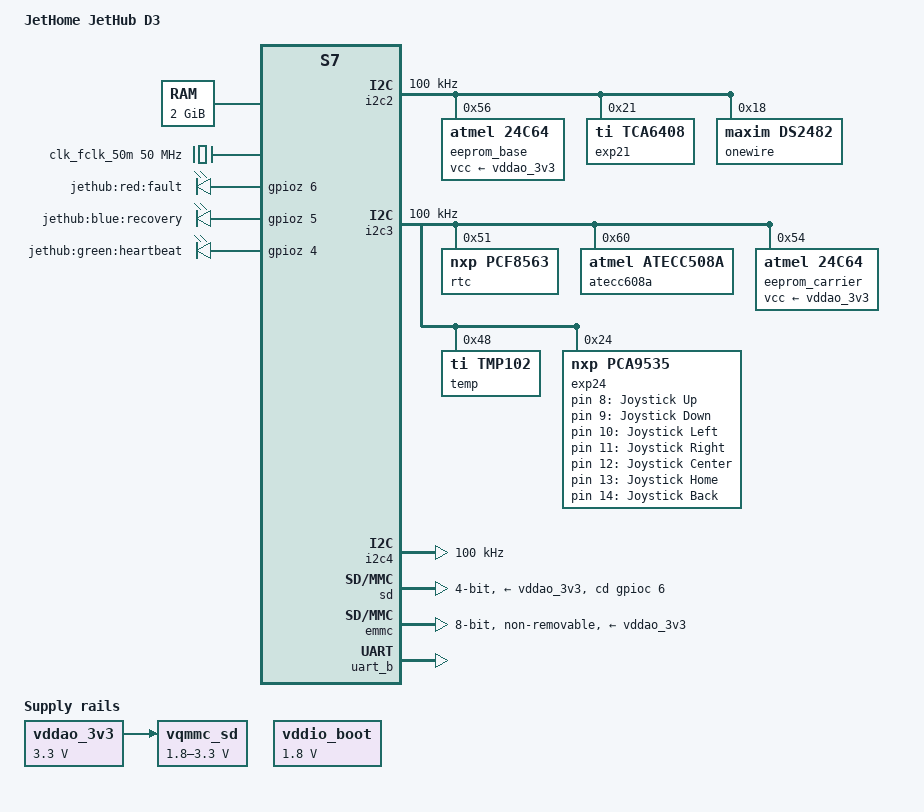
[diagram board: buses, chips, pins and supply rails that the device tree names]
// SPDX-License-Identifier: (GPL-2.0+ OR MIT)
/*
 * Copyright (c) 2026 JetHome
 *
 * JetHub D3 (J310): Amlogic S905Y5 (S7), 2-4 GiB RAM, eMMC, SD, 100 Mbit
 * Ethernet, USB 2.0, four UXM module slots.
 *
 * Bring-up stage. Mainline has no S7 clock controller yet, so the
 * peripherals run on fixed-clock placeholders: U-Boot leaves the gates
 * open and the PLLs running. The clock measurer confirmed the rates on
 * the board (2026-10-14): sys_clk 166.66 MHz, fclk_div5 400 MHz (so
 * fclk_div2 1 GHz), fclk_50m 50 MHz, gp0_pll 1151.7 MHz, sd_emmc_c
 * sourced from gp0_pll. The Ethernet clocks measure 0 Hz: U-Boot leaves
 * them gated, so the MAC and the MDIO mux stay disabled.
 */

/dts-v1/;

#include "amlogic-s7.dtsi"
#include "amlogic-s7-reset.h"
#include <dt-bindings/gpio/gpio.h>
#include <dt-bindings/input/input.h>
#include <dt-bindings/pinctrl/amlogic,pinctrl.h>

/ {
	model = "JetHome JetHub D3";
	compatible = "jethome,jethub-j310", "amlogic,s7";
	interrupt-parent = <&gic>;
	#address-cells = <2>;
	#size-cells = <2>;

	aliases {
		serial0 = &uart_b;
		mmc0 = &emmc;
		mmc1 = &sd;
		i2c2 = &i2c2;
		i2c3 = &i2c3;
		i2c4 = &i2c4;
		/* U-Boot fills local-mac-address from the eFuse MAC */
		ethernet0 = &ethmac;
	};

	chosen {
		stdout-path = "serial0:921600n8";
	};

	/* U-Boot fixes up the real size (2 or 4 GiB) */
	memory@0 {
		device_type = "memory";
		reg = <0x0 0x0 0x0 0x80000000>;
	};

	reserved-memory {
		#address-cells = <2>;
		#size-cells = <2>;
		ranges;

		/*
		 * 35 MiB reserved for ARM Trusted Firmware. The vendor U-Boot
		 * runs "rsvmem check" before booti: it needs this exact node
		 * name and rewrites reg to the BL31/BL32 region it booted with.
		 */
		secmon_reserved: linux,secmon {
			compatible = "shared-dma-pool";
			reg = <0x0 0x05000000 0x0 0x2300000>;
			alignment = <0x0 0x100000>;
			no-map;
		};
	};

	/* Clock placeholders, see the header comment; rates measured */
	clk_sys_pclk: clock-sys-pclk {
		compatible = "fixed-clock";
		#clock-cells = <0>;
		clock-frequency = <166666667>;
		clock-output-names = "sys_pclk";
	};

	clk_fclk_div2: clock-fclk-div2 {
		compatible = "fixed-clock";
		#clock-cells = <0>;
		clock-frequency = <1000000000>;
		clock-output-names = "fclk_div2";
	};

	clk_fclk_50m: clock-fclk-50m {
		compatible = "fixed-clock";
		#clock-cells = <0>;
		clock-frequency = <50000000>;
		clock-output-names = "fclk_50m";
	};

	/* MMC clock input (vendor src_clk_rate), measured 1151.7 MHz */
	clk_gp0_pll: clock-gp0-pll {
		compatible = "fixed-clock";
		#clock-cells = <0>;
		clock-frequency = <1152000000>;
		clock-output-names = "gp0_pll";
	};

	/*
	 * BL31 exposes SCMI over SMC 0x820000c1 with the shared memory in
	 * the secmon reserve, as the vendor DT describes. The clock protocol
	 * on this board (checked 2026-10-14) exports 17 clocks: cpu_clk
	 * (1704 MHz), dsu_clk (1344 MHz), aclkm (672 MHz), gp1_pll (off),
	 * pwm_g/h/i/j (24 MHz) and the 24 MHz inputs of the DDR, USB, ETH,
	 * ADC, HDMI and TOP PLLs. The fixed PLL, its dividers, GP0, HiFi and
	 * all CLKCTRL muxes stay with the kernel: an S7 clock controller.
	 */
	sram@50f6000 {
		compatible = "mmio-sram";
		reg = <0x0 0x050f6000 0x0 0x100>;
		#address-cells = <1>;
		#size-cells = <1>;
		ranges = <0 0x0 0x050f6000 0x100>;

		scmi_shmem: scmi-sram@0 {
			compatible = "arm,scmi-shmem";
			reg = <0x0 0x100>;
		};
	};

	firmware {
		scmi {
			compatible = "arm,scmi-smc";
			arm,smc-id = <0x820000c1>;
			shmem = <&scmi_shmem>;
			#address-cells = <1>;
			#size-cells = <0>;

			scmi_clk: protocol@14 {
				reg = <0x14>;
				#clock-cells = <1>;
			};
		};
	};

	vddao_3v3: regulator-vddao-3v3 {
		compatible = "regulator-fixed";
		regulator-name = "VDDAO_3V3";
		regulator-min-microvolt = <3300000>;
		regulator-max-microvolt = <3300000>;
		regulator-boot-on;
		regulator-always-on;
	};

	vddio_boot: regulator-vddio-boot {
		compatible = "regulator-fixed";
		regulator-name = "VDDIO_BOOT";
		regulator-min-microvolt = <1800000>;
		regulator-max-microvolt = <1800000>;
		regulator-boot-on;
		regulator-always-on;
	};

	/* GPIOH_6 drives PR1: high selects 3.3 V, low selects 1.8 V */
	vqmmc_sd: regulator-vqmmc-sd {
		compatible = "regulator-gpio";
		regulator-name = "VQMMC_SD";
		vin-supply = <&vddao_3v3>;
		regulator-min-microvolt = <1800000>;
		regulator-max-microvolt = <3300000>;
		gpios = <&gpioh 6 GPIO_ACTIVE_HIGH>;
		gpios-states = <1>;
		states = <3300000 1>, <1800000 0>;
		regulator-settling-time-us = <10000>;
		regulator-boot-on;
	};

	gpio-keys {
		compatible = "gpio-keys-polled";
		poll-interval = <100>;

		button-up {
			label = "Joystick Up";
			gpios = <&exp24 8 GPIO_ACTIVE_HIGH>;
			linux,code = <KEY_UP>;
			debounce-interval = <10>;
		};

		button-down {
			label = "Joystick Down";
			gpios = <&exp24 9 GPIO_ACTIVE_HIGH>;
			linux,code = <KEY_DOWN>;
			debounce-interval = <10>;
		};

		button-left {
			label = "Joystick Left";
			gpios = <&exp24 10 GPIO_ACTIVE_HIGH>;
			linux,code = <KEY_LEFT>;
			debounce-interval = <10>;
		};

		button-right {
			label = "Joystick Right";
			gpios = <&exp24 11 GPIO_ACTIVE_HIGH>;
			linux,code = <KEY_RIGHT>;
			debounce-interval = <10>;
		};

		button-center {
			label = "Joystick Center";
			gpios = <&exp24 12 GPIO_ACTIVE_HIGH>;
			linux,code = <KEY_ENTER>;
			debounce-interval = <10>;
		};

		button-home {
			label = "Joystick Home";
			gpios = <&exp24 13 GPIO_ACTIVE_HIGH>;
			linux,code = <KEY_HOME>;
			debounce-interval = <10>;
		};

		button-back {
			label = "Joystick Back";
			gpios = <&exp24 14 GPIO_ACTIVE_HIGH>;
			linux,code = <KEY_BACK>;
			debounce-interval = <10>;
		};
	};

	leds {
		compatible = "gpio-leds";

		led-red {
			label = "jethub:red:fault";
			gpios = <&gpioz 6 GPIO_ACTIVE_HIGH>;
			default-state = "off";
		};

		led-blue {
			label = "jethub:blue:recovery";
			gpios = <&gpioz 5 GPIO_ACTIVE_HIGH>;
			default-state = "off";
		};

		led-green {
			label = "jethub:green:heartbeat";
			gpios = <&gpioz 4 GPIO_ACTIVE_HIGH>;
			linux,default-trigger = "heartbeat";
		};
	};
};

/* Pin groups: pins and functions from the vendor pinctrl-meson-s7 tables */
&periphs_pinctrl {
	func-emmc {
		emmc_pins: group-emmc-pins {
			pinmux = <AML_PINMUX(AMLOGIC_GPIO_B, 0, 1)>,
				 <AML_PINMUX(AMLOGIC_GPIO_B, 1, 1)>,
				 <AML_PINMUX(AMLOGIC_GPIO_B, 2, 1)>,
				 <AML_PINMUX(AMLOGIC_GPIO_B, 3, 1)>,
				 <AML_PINMUX(AMLOGIC_GPIO_B, 4, 1)>,
				 <AML_PINMUX(AMLOGIC_GPIO_B, 5, 1)>,
				 <AML_PINMUX(AMLOGIC_GPIO_B, 6, 1)>,
				 <AML_PINMUX(AMLOGIC_GPIO_B, 7, 1)>,
				 <AML_PINMUX(AMLOGIC_GPIO_B, 8, 1)>,
				 <AML_PINMUX(AMLOGIC_GPIO_B, 10, 1)>;
			bias-pull-up;
			drive-strength-microamp = <3000>;
		};

		emmc_ds_pins: group-emmc-ds-pins {
			pinmux = <AML_PINMUX(AMLOGIC_GPIO_B, 11, 1)>;
			bias-pull-down;
			drive-strength-microamp = <3000>;
		};

		emmc_clk_gate_pins: group-emmc-clk-gate-pins {
			pinmux = <AML_PINMUX(AMLOGIC_GPIO_B, 8, 0)>;
			bias-pull-down;
			drive-strength-microamp = <3000>;
		};
	};

	func-sdcard {
		sdcard_pins: group-sdcard-pins {
			pinmux = <AML_PINMUX(AMLOGIC_GPIO_C, 0, 1)>,
				 <AML_PINMUX(AMLOGIC_GPIO_C, 1, 1)>,
				 <AML_PINMUX(AMLOGIC_GPIO_C, 2, 1)>,
				 <AML_PINMUX(AMLOGIC_GPIO_C, 3, 1)>,
				 <AML_PINMUX(AMLOGIC_GPIO_C, 4, 1)>,
				 <AML_PINMUX(AMLOGIC_GPIO_C, 5, 1)>;
			bias-pull-up;
			drive-strength-microamp = <3000>;
		};

		sdcard_clk_gate_pins: group-sdcard-clk-gate-pins {
			pinmux = <AML_PINMUX(AMLOGIC_GPIO_C, 4, 0)>;
			bias-pull-down;
			drive-strength-microamp = <3000>;
		};
	};

	func-i2c2 {
		i2c2_pins: group-i2c2-pins {
			pinmux = <AML_PINMUX(AMLOGIC_GPIO_H, 8, 1)>,
				 <AML_PINMUX(AMLOGIC_GPIO_H, 9, 1)>;
			drive-strength-microamp = <3000>;
		};
	};

	func-i2c3 {
		i2c3_pins: group-i2c3-pins {
			pinmux = <AML_PINMUX(AMLOGIC_GPIO_Z, 8, 2)>,
				 <AML_PINMUX(AMLOGIC_GPIO_Z, 9, 2)>;
			drive-strength-microamp = <3000>;
		};
	};

	func-i2c4 {
		i2c4_pins: group-i2c4-pins {
			pinmux = <AML_PINMUX(AMLOGIC_GPIO_D, 2, 2)>,
				 <AML_PINMUX(AMLOGIC_GPIO_D, 3, 2)>;
			drive-strength-microamp = <3000>;
		};
	};

	func-eth {
		eth_led_pins: group-eth-led-pins {
			pinmux = <AML_PINMUX(AMLOGIC_GPIO_H, 10, 1)>,
				 <AML_PINMUX(AMLOGIC_GPIO_H, 11, 1)>;
		};
	};
};

/*
 * SoC blocks that the mainline S7 dtsi does not describe yet. Registers
 * and interrupts come from the vendor meson-s7.dtsi, the node layout from
 * the mainline meson-s4.dtsi.
 */
&apb {
	i2c2: i2c@66800 {
		compatible = "amlogic,meson-axg-i2c";
		reg = <0x0 0x66800 0x0 0x20>;
		interrupts = <GIC_SPI 162 IRQ_TYPE_EDGE_RISING>;
		clocks = <&clk_sys_pclk>;
		#address-cells = <1>;
		#size-cells = <0>;
		status = "disabled";
	};

	i2c3: i2c@66c00 {
		compatible = "amlogic,meson-axg-i2c";
		reg = <0x0 0x66c00 0x0 0x20>;
		interrupts = <GIC_SPI 163 IRQ_TYPE_EDGE_RISING>;
		clocks = <&clk_sys_pclk>;
		#address-cells = <1>;
		#size-cells = <0>;
		status = "disabled";
	};

	i2c4: i2c@67000 {
		compatible = "amlogic,meson-axg-i2c";
		reg = <0x0 0x67000 0x0 0x20>;
		interrupts = <GIC_SPI 164 IRQ_TYPE_EDGE_RISING>;
		clocks = <&clk_sys_pclk>;
		#address-cells = <1>;
		#size-cells = <0>;
		status = "disabled";
	};

	sd: mmc@8a000 {
		compatible = "amlogic,meson-axg-mmc";
		reg = <0x0 0x8a000 0x0 0x800>;
		interrupts = <GIC_SPI 177 IRQ_TYPE_EDGE_RISING>;
		clocks = <&clk_sys_pclk>, <&xtal>, <&clk_gp0_pll>;
		clock-names = "core", "clkin0", "clkin1";
		resets = <&reset RESET_SD_EMMC_B>;
		power-domains = <&pwrc PWRC_S7_SD_EMMC_B_ID>;
		status = "disabled";
	};

	emmc: mmc@8c000 {
		compatible = "amlogic,meson-axg-mmc";
		reg = <0x0 0x8c000 0x0 0x800>;
		interrupts = <GIC_SPI 178 IRQ_TYPE_EDGE_RISING>;
		clocks = <&clk_sys_pclk>, <&xtal>, <&clk_gp0_pll>;
		clock-names = "core", "clkin0", "clkin1";
		resets = <&reset RESET_SD_EMMC_C>;
		power-domains = <&pwrc PWRC_S7_SD_EMMC_C_ID>;
		no-sdio;
		no-sd;
		status = "disabled";
	};

	eth_phy: mdio-multiplexer@360000 {
		compatible = "amlogic,g12a-mdio-mux";
		reg = <0x0 0x360000 0x0 0xa4>;
		#address-cells = <1>;
		#size-cells = <0>;
		clocks = <&clk_sys_pclk>, <&xtal>, <&clk_fclk_50m>;
		clock-names = "pclk", "clkin0", "clkin1";
		mdio-parent-bus = <&mdio0>;
		status = "disabled";

		ext_mdio: mdio@0 {
			reg = <0>;
			#address-cells = <1>;
			#size-cells = <0>;
		};

		int_mdio: mdio@1 {
			reg = <1>;
			#address-cells = <1>;
			#size-cells = <0>;

			internal_ephy: ethernet-phy@8 {
				compatible = "ethernet-phy-id0180.3301",
					     "ethernet-phy-ieee802.3-c22";
				interrupts = <GIC_SPI 75 IRQ_TYPE_LEVEL_HIGH>;
				reg = <8>;
				max-speed = <100>;
			};
		};
	};

	ethmac: ethernet@368000 {
		compatible = "amlogic,meson-axg-dwmac",
			     "snps,dwmac-4.00",
			     "snps,dwmac";
		reg = <0x0 0x368000 0x0 0x10000>,
		      <0x0 0x364000 0x0 0x8>;
		interrupts = <GIC_SPI 74 IRQ_TYPE_LEVEL_HIGH>;
		interrupt-names = "macirq";
		power-domains = <&pwrc PWRC_S7_ETH_ID>;
		clocks = <&clk_sys_pclk>, <&clk_fclk_div2>, <&clk_fclk_50m>;
		clock-names = "stmmaceth", "clkin0", "clkin1";
		rx-fifo-depth = <4096>;
		tx-fifo-depth = <2048>;
		status = "disabled";

		mdio0: mdio {
			#address-cells = <1>;
			#size-cells = <0>;
			compatible = "snps,dwmac-mdio";
		};
	};
};

&emmc {
	status = "okay";
	pinctrl-0 = <&emmc_pins>, <&emmc_ds_pins>;
	pinctrl-1 = <&emmc_clk_gate_pins>;
	pinctrl-names = "default", "clk-gate";

	bus-width = <8>;
	cap-mmc-highspeed;
	/* placeholder clock rates: stay in high-speed mode for now */
	max-frequency = <50000000>;
	non-removable;
	disable-wp;

	vmmc-supply = <&vddao_3v3>;
	vqmmc-supply = <&vddio_boot>;
};

&sd {
	status = "okay";
	pinctrl-0 = <&sdcard_pins>;
	pinctrl-1 = <&sdcard_clk_gate_pins>;
	pinctrl-names = "default", "clk-gate";

	bus-width = <4>;
	cap-sd-highspeed;
	max-frequency = <50000000>;
	disable-wp;
	cd-gpios = <&gpioc 6 GPIO_ACTIVE_HIGH>;

	vmmc-supply = <&vddao_3v3>;
	vqmmc-supply = <&vqmmc_sd>;
};

/* Base board: EEPROM, UXM slot control, 1-Wire master */
&i2c2 {
	status = "okay";
	pinctrl-0 = <&i2c2_pins>;
	pinctrl-names = "default";
	clock-frequency = <100000>;

	eeprom_base: eeprom@56 {
		compatible = "atmel,24c64";
		reg = <0x56>;
		pagesize = <32>;
		label = "eeprom_base";
		vcc-supply = <&vddao_3v3>;
	};

	exp21: gpio@21 {
		compatible = "ti,tca6408";
		reg = <0x21>;
		gpio-controller;
		#gpio-cells = <2>;
		gpio-line-names = "UXM1_RESET", "UXM1_MODE",
				  "UXM2_RESET", "UXM2_MODE",
				  "UXM3_RESET", "UXM3_MODE",
				  "UXM4_RESET", "UXM4_MODE";
	};

	onewire: ds2482@18 {
		compatible = "maxim,ds2482";
		reg = <0x18>;
	};
};

/* CPU carrier board: RTC, crypto, EEPROM, temperature, OLED, joystick */
&i2c3 {
	status = "okay";
	pinctrl-0 = <&i2c3_pins>;
	pinctrl-names = "default";
	clock-frequency = <100000>;

	rtc: rtc@51 {
		compatible = "nxp,pcf8563";
		reg = <0x51>;
		wakeup-source;
	};

	atecc608a: crypto@60 {
		compatible = "atmel,atecc508a";
		reg = <0x60>;
	};

	eeprom_carrier: eeprom@54 {
		compatible = "atmel,24c64";
		reg = <0x54>;
		pagesize = <32>;
		label = "eeprom_carrier";
		vcc-supply = <&vddao_3v3>;
	};

	temp: temperature-sensor@48 {
		compatible = "ti,tmp102";
		reg = <0x48>;
	};

	exp24: gpio@24 {
		compatible = "nxp,pca9535";
		reg = <0x24>;
		gpio-controller;
		#gpio-cells = <2>;
		gpio-line-names = "", "", "", "", "", "", "", "",
				  "JOY_UP", "JOY_DOWN", "JOY_LEFT", "JOY_RIGHT",
				  "JOY_CENTER", "JOY_HOME", "JOY_BACK", "";
	};
};

/* UXM module slots */
&i2c4 {
	status = "okay";
	pinctrl-0 = <&i2c4_pins>;
	pinctrl-names = "default";
	clock-frequency = <100000>;
};

/*
 * Ethernet stays off: the clock measurer shows the Ethernet clocks at
 * 0 Hz, so U-Boot leaves the gates closed and a register access would
 * hang the bus. The MAC waits for the S7 clock controller.
 */
&ethmac {
	pinctrl-0 = <&eth_led_pins>;
	pinctrl-names = "default";
	phy-handle = <&internal_ephy>;
	phy-mode = "rmii";
};

&uart_b {
	status = "okay";
};
